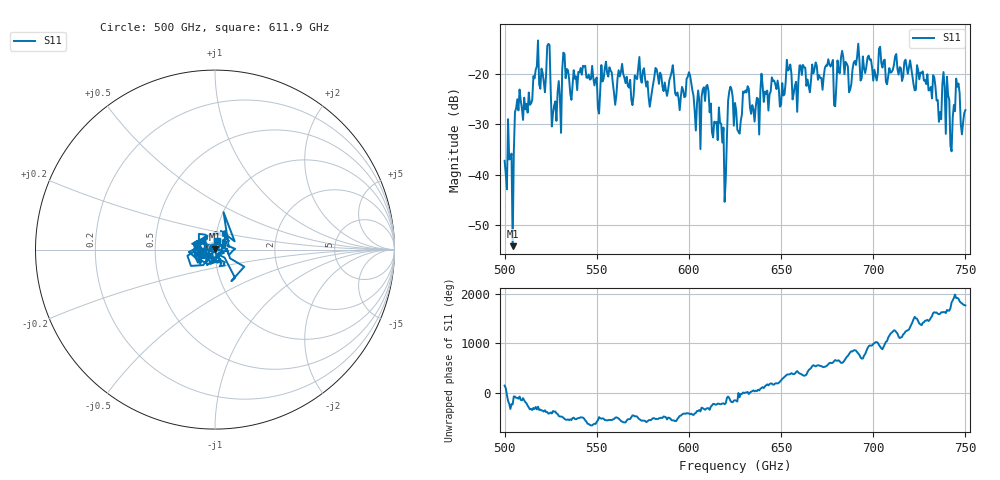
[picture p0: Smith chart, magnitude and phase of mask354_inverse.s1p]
!Created with skrf (http://scikit-rf.org).
# GHz S MA R 50.0
!freq magS11 angS11
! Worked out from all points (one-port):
!   401 points, 500 GHz to 750 GHz, reference 50 ohm
!   lowest |S11| = -54.2 dB at 504.4 GHz (marker M1), VSWR 1.00, Z = 49.9 + j0.159 ohm
!   |S11| at or under -10 dB: start of sweep to end of sweep
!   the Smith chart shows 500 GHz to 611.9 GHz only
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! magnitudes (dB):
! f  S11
! 500 GHz  -37.3
! 504.4 GHz  -54.2
! 506.9 GHz  -25.1
! 513.8 GHz  -26.2
! 516.9 GHz  -19.2
! 523.8 GHz  -14.1
! 526.9 GHz  -26.3
! 531.2 GHz  -19.3
! 562.5 GHz  -20.5
! 579.4 GHz  -24.9
! 590.6 GHz  -19.6
! 593.8 GHz  -23.7
! 600 GHz  -19.7
! 605 GHz  -23.3
! 609.4 GHz  -22.5
! 619.4 GHz  -45.4
! 622.5 GHz  -22.6
! 625 GHz  -25.8
! 656.2 GHz  -25.1
! 683.8 GHz  -16.7
! 687.5 GHz  -23.1
! 691.2 GHz  -16.6
! 718.8 GHz  -20.0
! 735.6 GHz  -29.5
! 738.8 GHz  -22.8
! 743.1 GHz  -28.7
! 745.6 GHz  -22.6
! 750 GHz  -27.2
